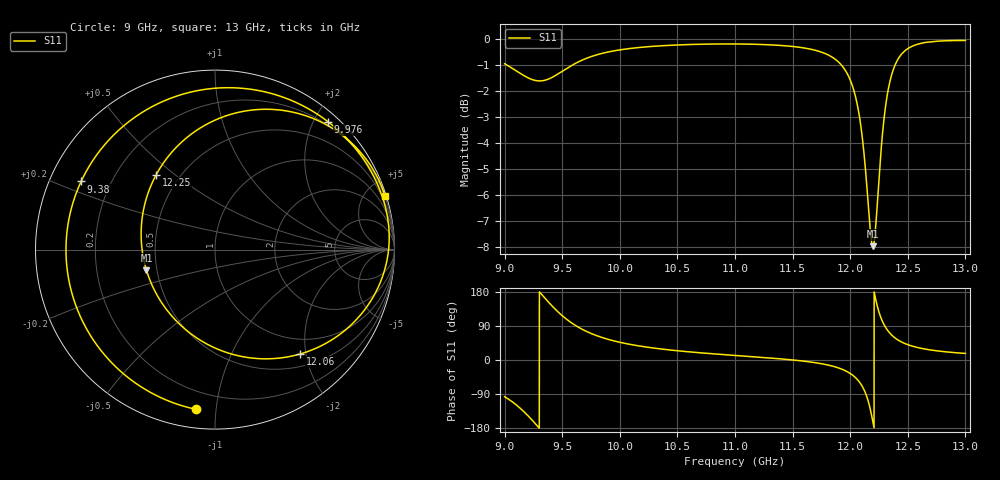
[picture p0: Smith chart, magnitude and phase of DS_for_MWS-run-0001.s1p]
! TOUCHSTONE file generated by CST DESIGN STUDIO
! Date and time: Tue Feb  4 16:38:31 2025
! Project name: C:\Work\MatlabApps\UnitCellOptimizationMatlab\CST\unitcell.cst
! Tree item: Tasks\Sweep1\SPara1\S-Parameters
! Header version: 2024
! Port assignment regex: !\s*Touchstone port\s*([0-9]+)\s*=\s*(CST MWS port|CST DES external port|CST DES block port)\s*(.+)\s* \(\"(.*)\"\)(\s*mode\s*([0-9]+))?.*
! Touchstone port assignment:
! Touchstone port 1 = CST DES external port 1 ("")
# GHz S MA R 50
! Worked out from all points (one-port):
!   4001 points, 9 GHz to 13 GHz, reference 50 ohm
!   lowest |S11| = -8.0 dB at 12.2 GHz (marker M1), VSWR 2.33, Z = 21.9 - j5.99 ohm
!   |S11| at or under -10 dB: nowhere
!   S11 on the Smith chart (normalised r, x): 9 GHz: 0.10, -0.88; 9.38 GHz: 0.09, +0.24; 9.976 GHz: 0.15, +2.22; 12.06 GHz: 0.71, -1.89; 12.25 GHz: 0.37, +0.43; 13 GHz: 0.14, +6.55
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9  0.896 -96.9
9.122  0.8623 -123.8
9.237  0.8356 -158.0
9.308  0.8302 177.7
9.38  0.837 153.0
9.5  0.8666 117.0
9.599  0.8936 94.3
9.726  0.9206 73.3
9.976  0.951 48.4
10  0.9529 46.7
10.5  0.9739 24.4
11  0.9782 12.0
11.5  0.9674 0.1
11.831  0.9262 -15.0
12  0.834 -35.5
12.06  0.7503 -50.8
12.103  0.6517 -68.7
12.136  0.549 -89.8
12.166  0.4503 -119.2
12.197  0.3987 -163.2
12.222  0.4369 159.1
12.248  0.5305 128.2
12.287  0.6801 97.4
12.33  0.7989 76.1
12.405  0.9059 54.8
12.5  0.9581 40.5
12.679  0.9866 27.4
13  0.9936 17.3
